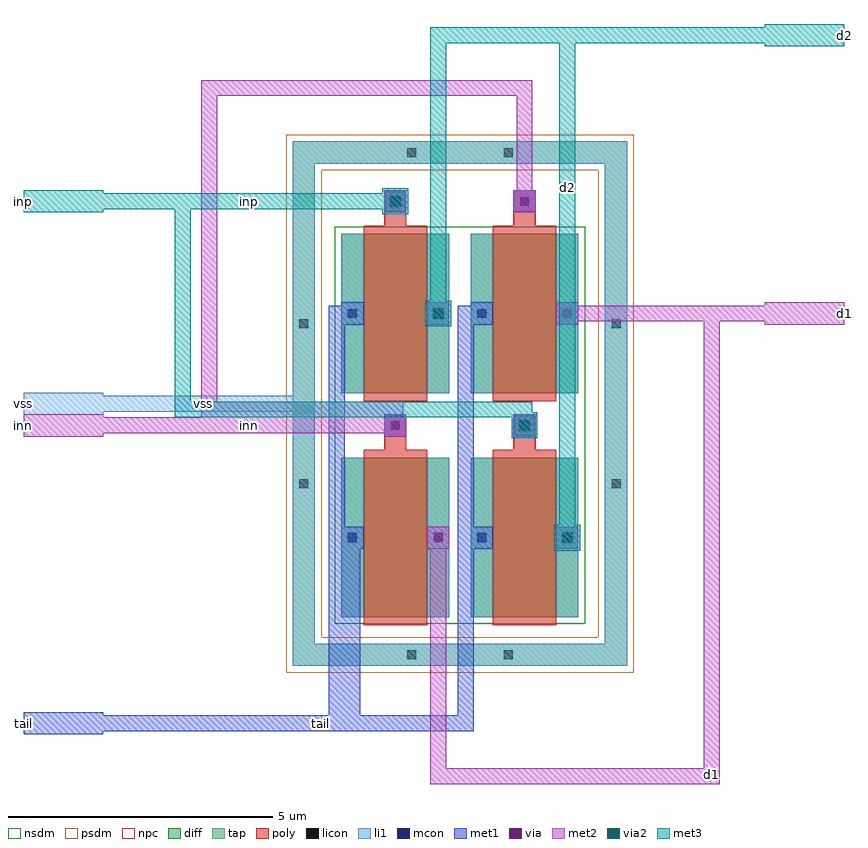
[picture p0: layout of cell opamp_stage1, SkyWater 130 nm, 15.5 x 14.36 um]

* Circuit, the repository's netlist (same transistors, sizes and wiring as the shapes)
* extracted by klt extract --deck sky130

* cell opamp_stage1
* pin d1
* pin d2
* pin inn
* pin inp
* pin tail
* pin vss
.SUBCKT opamp_stage1 d1 d2 inn inp tail vss
* device instance $1 r0 *1 1.02,1.507 nfet
M$1 d1 inn tail vss nfet L=1.2U W=3.015U AS=1.2663P AD=1.2663P PS=6.87U PD=6.87U
* device instance $2 r0 *1 3.46,1.507 nfet
M$2 d2 inp tail vss nfet L=1.2U W=3.015U AS=1.2663P AD=1.2663P PS=6.87U PD=6.87U
* device instance $3 r0 *1 1.02,5.742 nfet
M$3 d2 inp tail vss nfet L=1.2U W=3.015U AS=1.2663P AD=1.2663P PS=6.87U PD=6.87U
* device instance $4 r0 *1 3.46,5.742 nfet
M$4 d1 inn tail vss nfet L=1.2U W=3.015U AS=1.2663P AD=1.2663P PS=6.87U PD=6.87U
.ENDS opamp_stage1

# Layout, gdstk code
import gdstk
lib = gdstk.Library(unit=1e-6, precision=1e-09)
def R(c, l, rs):  # rectangles x0, y0, x1, y1
    for r in rs: c.add(gdstk.rectangle(r[:2], r[2:], *l))
def P(c, l, *ps):  # polygons
    for p in ps: c.add(gdstk.Polygon(p, *l))
diff = (65, 20)
tap = (65, 44)
poly = (66, 20)
licon = (66, 44)
li1 = (67, 20)
mcon = (67, 44)
met1 = (68, 20)
via = (68, 44)
met2 = (69, 20)
via2 = (69, 44)
met3 = (70, 20)
nsdm = (93, 44)
psdm = (94, 20)
npc = (95, 20)

diff_pair = lib.new_cell('diff_pair')
R(diff_pair, diff, [(0,0,2.04,3.015), (2.44,0,4.48,3.015), (0,4.235,2.04,7.25), (2.44,4.235,4.48,7.25)])
P(diff_pair, tap, [(-0.92,-0.92),(-0.92,8.57),(-0.5,8.57),(-0.5,-0.5),(4.98,-0.5),(4.98,8.57),(-0.92,8.57),(-0.92,8.99),(5.4,8.99),(5.4,-0.92)])
R(diff_pair, poly, [(0.42,0,1.62,3.015), (2.86,0,4.06,3.015), (0.81,3.015,1.23,3.835), (3.25,3.015,3.67,3.835), (0.42,4.235,1.62,7.25), (2.86,4.235,4.06,7.25), (0.81,7.25,1.23,8.07), (3.25,7.25,3.67,8.07)])
R(diff_pair, licon, [(1.24,-0.795,1.41,-0.625), (3.07,-0.795,3.24,-0.625), (0.125,1.425,0.295,1.595), (1.745,1.425,1.915,1.595), (2.565,1.425,2.735,1.595), (4.185,1.425,4.355,1.595), (-0.795,2.44,-0.625,2.61), (5.105,2.44,5.275,2.61), (0.935,3.54,1.105,3.71), (3.375,3.54,3.545,3.71), (-0.795,5.46,-0.625,5.63), (5.105,5.46,5.275,5.63), (0.125,5.655,0.295,5.825), (1.745,5.655,1.915,5.825), (2.565,5.655,2.735,5.825), (4.185,5.655,4.355,5.825), (0.935,7.775,1.105,7.945), (3.375,7.775,3.545,7.945), (1.24,8.695,1.41,8.865), (3.07,8.695,3.24,8.865)])
R(diff_pair, li1, [(0,0,0.42,3.015), (1.62,0,2.04,3.015), (2.44,0,2.86,3.015), (4.06,0,4.48,3.015), (0.81,3.415,1.23,3.835), (3.25,3.415,3.67,3.835), (0,4.235,0.42,7.25), (1.62,4.235,2.04,7.25), (2.44,4.235,2.86,7.25), (4.06,4.235,4.48,7.25), (0.81,7.65,1.23,8.07), (3.25,7.65,3.67,8.07)])
P(diff_pair, li1, [(-0.92,-0.92),(-0.92,8.57),(-0.5,8.57),(-0.5,-0.5),(4.98,-0.5),(4.98,8.57),(-0.92,8.57),(-0.92,8.99),(5.4,8.99),(5.4,-0.92)])

mn12__stage1_input_pair = lib.new_cell('mn12__stage1_input_pair')
mn12__stage1_input_pair.add(gdstk.Reference(diff_pair, (0,0)))

fe_masks__stage1_fe_mask = lib.new_cell('fe_masks__stage1_fe_masks')
R(fe_masks__stage1_fe_mask, poly, [(0.42,-0.15,1.62,0), (2.86,-0.15,4.06,0), (0.42,3.015,1.62,3.165), (2.86,3.015,4.06,3.165), (0.42,4.085,1.62,4.235), (2.86,4.085,4.06,4.235), (0.42,7.25,1.62,7.4), (2.86,7.25,4.06,7.4)])
R(fe_masks__stage1_fe_mask, nsdm, [(-0.125,-0.125,4.605,7.375)])
R(fe_masks__stage1_fe_mask, psdm, [(-1.045,-1.045,5.525,-0.375), (-1.045,-0.375,-0.375,8.445), (4.855,-0.375,5.525,8.445), (-1.045,8.445,5.525,9.115)])
R(fe_masks__stage1_fe_mask, npc, [(0.835,3.44,1.205,3.81), (3.275,3.44,3.645,3.81), (0.835,7.675,1.205,8.045), (3.275,7.675,3.645,8.045)])

pin_tail__stub_metal2 = lib.new_cell('pin_tail__stub_metal2')
R(pin_tail__stub_metal2, met1, [(0,0,1.5,0.42)])

pin_inn__stub_metal3 = lib.new_cell('pin_inn__stub_metal3')
R(pin_inn__stub_metal3, met2, [(0,0,1.5,0.42)])

pin_vss__stub_metal = lib.new_cell('pin_vss__stub_metal')
R(pin_vss__stub_metal, li1, [(0,0,1.5,0.42)])

pin_inp__stub_metal4 = lib.new_cell('pin_inp__stub_metal4')
R(pin_inp__stub_metal4, met3, [(0,0,1.5,0.42)])

pin_d1__stub_metal3 = lib.new_cell('pin_d1__stub_metal3')
R(pin_d1__stub_metal3, met2, [(0,0,1.5,0.42)])

pin_d2__stub_metal4 = lib.new_cell('pin_d2__stub_metal4')
R(pin_d2__stub_metal4, met3, [(0,0,1.5,0.42)])

opamp_stage1 = lib.new_cell('opamp_stage1')
R(opamp_stage1, li1, [(0,1.295,0.42,1.715), (0,1.295,0.42,1.715), (0,1.295,0.42,1.715), (1.62,1.295,2.04,1.715), (2.44,1.295,2.86,1.715), (2.44,1.295,2.86,1.715), (4.06,1.295,4.48,1.715), (0.81,3.415,1.23,3.835), (0.81,3.415,1.23,3.835), (3.25,3.415,3.67,3.835), (0,5.53,0.42,5.95), (1.62,5.53,2.04,5.95), (2.44,5.53,2.86,5.95), (4.06,5.53,4.48,5.95), (0.81,7.65,1.23,8.07), (0.81,7.65,1.23,8.07), (3.25,7.65,3.67,8.07)])
R(opamp_stage1, mcon, [(0.125,1.42,0.295,1.59), (0.125,1.42,0.295,1.59), (0.125,1.42,0.295,1.59), (1.745,1.42,1.915,1.59), (2.565,1.42,2.735,1.59), (2.565,1.42,2.735,1.59), (4.185,1.42,4.355,1.59), (0.935,3.54,1.105,3.71), (0.935,3.54,1.105,3.71), (3.375,3.54,3.545,3.71), (0.125,5.655,0.295,5.825), (1.745,5.655,1.915,5.825), (2.565,5.655,2.735,5.825), (4.185,5.655,4.355,5.825), (0.935,7.775,1.105,7.945), (0.935,7.775,1.105,7.945), (3.375,7.775,3.545,7.945)])
R(opamp_stage1, met1, [(0,1.295,0.42,1.715), (0,1.295,0.42,1.715), (0,1.295,0.42,1.715), (1.62,1.295,2.04,1.715), (1.62,1.295,2.04,1.715), (2.44,1.295,2.86,1.715), (2.44,1.295,2.86,1.715), (4.06,1.295,4.48,1.715), (4.06,1.295,4.48,1.715), (0.81,3.415,1.23,3.835), (0.81,3.415,1.23,3.835), (0.81,3.415,1.23,3.835), (0.81,3.415,1.23,3.835), (3.25,3.415,3.67,3.835), (3.25,3.415,3.67,3.835), (0,5.53,0.42,5.95), (1.62,5.53,2.04,5.95), (1.62,5.53,2.04,5.95), (2.44,5.53,2.86,5.95), (4.06,5.53,4.48,5.95), (4.06,5.53,4.48,5.95), (0.81,7.65,1.23,8.07), (0.81,7.65,1.23,8.07), (0.81,7.65,1.23,8.07), (0.81,7.65,1.23,8.07), (3.25,7.65,3.67,8.07), (3.25,7.65,3.67,8.07)])
R(opamp_stage1, via, [(1.755,1.43,1.905,1.58), (4.195,1.43,4.345,1.58), (0.945,3.55,1.095,3.7), (0.945,3.55,1.095,3.7), (3.385,3.55,3.535,3.7), (1.755,5.665,1.905,5.815), (4.195,5.665,4.345,5.815), (0.945,7.785,1.095,7.935), (0.945,7.785,1.095,7.935), (3.385,7.785,3.535,7.935)])
R(opamp_stage1, met2, [(1.62,1.295,2.04,1.715), (4.06,1.295,4.48,1.715), (4.06,1.295,4.48,1.715), (0.81,3.415,1.23,3.835), (0.81,3.415,1.23,3.835), (3.25,3.415,3.67,3.835), (3.25,3.415,3.67,3.835), (1.62,5.53,2.04,5.95), (1.62,5.53,2.04,5.95), (4.06,5.53,4.48,5.95), (0.81,7.65,1.23,8.07), (0.81,7.65,1.23,8.07), (0.81,7.65,1.23,8.07), (0.81,7.65,1.23,8.07), (3.25,7.65,3.67,8.07)])
R(opamp_stage1, via2, [(4.17,1.405,4.37,1.605), (3.36,3.525,3.56,3.725), (1.73,5.64,1.93,5.84), (0.92,7.76,1.12,7.96), (0.92,7.76,1.12,7.96)])
R(opamp_stage1, met3, [(4.025,1.26,4.515,1.75), (3.215,3.38,3.705,3.87), (1.585,5.495,2.075,5.985), (0.775,7.615,1.265,8.105), (0.775,7.615,1.265,8.105)])
opamp_stage1.add(gdstk.FlexPath([(-0.71,4.035),(-4.5,4.035)], 0.3, ends="flush", simple_path=True, layer=67, datatype=20))  # li1
opamp_stage1.add(gdstk.FlexPath([(-4.5,-2),(-0.09,-2),(-0.09,1.505),(0.21,1.505)], 0.3, ends="flush", simple_path=True, layer=68, datatype=20))  # met1
opamp_stage1.add(gdstk.FlexPath([(0.21,1.505),(0.21,-2),(2.35,-2),(2.35,1.505),(2.65,1.505)], 0.3, ends="flush", simple_path=True, layer=68, datatype=20))  # met1
opamp_stage1.add(gdstk.FlexPath([(0.21,1.505),(-0.09,1.505),(-0.09,5.74),(0.21,5.74)], 0.3, ends="flush", simple_path=True, layer=68, datatype=20))  # met1
opamp_stage1.add(gdstk.FlexPath([(2.65,1.505),(2.35,1.505),(2.35,5.74),(2.65,5.74)], 0.3, ends="flush", simple_path=True, layer=68, datatype=20))  # met1
opamp_stage1.add(gdstk.FlexPath([(1.83,1.505),(1.83,-3),(7,-3),(7,5.74),(8,5.74)], 0.3, ends="flush", simple_path=True, layer=69, datatype=20))  # met2
opamp_stage1.add(gdstk.FlexPath([(4.27,5.74),(8,5.74)], 0.3, ends="flush", simple_path=True, layer=69, datatype=20))  # met2
opamp_stage1.add(gdstk.FlexPath([(-4.5,3.625),(1.02,3.625),(1.02,3.625)], 0.3, ends="flush", simple_path=True, layer=69, datatype=20))  # met2
opamp_stage1.add(gdstk.FlexPath([(1.02,3.625),(1.02,3.925),(-2.5,3.925),(-2.5,10),(3.46,10),(3.46,7.86)], 0.3, ends="flush", simple_path=True, layer=69, datatype=20))  # met2
opamp_stage1.add(gdstk.FlexPath([(4.27,1.505),(4.27,11),(8,11)], 0.3, ends="flush", simple_path=True, layer=70, datatype=20))  # met3
opamp_stage1.add(gdstk.FlexPath([(1.83,5.74),(1.83,11),(8,11)], 0.3, ends="flush", simple_path=True, layer=70, datatype=20))  # met3
opamp_stage1.add(gdstk.FlexPath([(-4.5,7.86),(1.02,7.86),(1.02,7.86)], 0.3, ends="flush", simple_path=True, layer=70, datatype=20))  # met3
opamp_stage1.add(gdstk.FlexPath([(3.46,3.625),(3.46,3.925),(-3,3.925),(-3,7.86),(1.02,7.86),(1.02,7.86)], 0.3, ends="flush", simple_path=True, layer=70, datatype=20))  # met3
opamp_stage1.add(gdstk.Reference(mn12__stage1_input_pair, (0,0)))
opamp_stage1.add(gdstk.Reference(fe_masks__stage1_fe_mask, (0,0)))
opamp_stage1.add(gdstk.Reference(pin_tail__stub_metal2, (-6,-2.21)))
opamp_stage1.add(gdstk.Reference(pin_inn__stub_metal3, (-6,3.415)))
opamp_stage1.add(gdstk.Reference(pin_vss__stub_metal, (-6,3.825)))
opamp_stage1.add(gdstk.Reference(pin_inp__stub_metal4, (-6,7.65)))
opamp_stage1.add(gdstk.Reference(pin_d1__stub_metal3, (8,5.53)))
opamp_stage1.add(gdstk.Reference(pin_d2__stub_metal4, (8,10.79)))
opamp_stage1.add(gdstk.Label('tail', (-0.393,-2), layer=68, texttype=5))
opamp_stage1.add(gdstk.Label('tail', (-6,-2), layer=68, texttype=5))
opamp_stage1.add(gdstk.Label('d1', (7,-2.968), layer=69, texttype=5))
opamp_stage1.add(gdstk.Label('inn', (-1.74,3.625), layer=69, texttype=5))
opamp_stage1.add(gdstk.Label('inn', (-6,3.625), layer=69, texttype=5))
opamp_stage1.add(gdstk.Label('d1', (9.5,5.74), layer=69, texttype=5))
opamp_stage1.add(gdstk.Label('d2', (4.27,8.118), layer=70, texttype=5))
opamp_stage1.add(gdstk.Label('inp', (-1.74,7.86), layer=70, texttype=5))
opamp_stage1.add(gdstk.Label('inp', (-6,7.86), layer=70, texttype=5))
opamp_stage1.add(gdstk.Label('d2', (9.5,11), layer=70, texttype=5))
opamp_stage1.add(gdstk.Label('vss', (-2.605,4.035), layer=67, texttype=5))
opamp_stage1.add(gdstk.Label('vss', (-6,4.035), layer=67, texttype=5))

lib.write_gds('opamp_stage1.gds')
